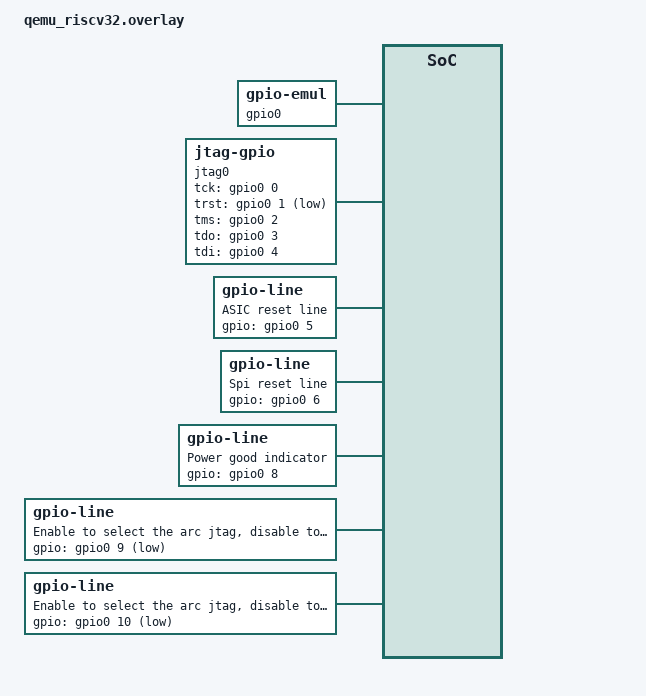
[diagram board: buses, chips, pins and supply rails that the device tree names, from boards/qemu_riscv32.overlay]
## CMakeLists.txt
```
# SPDX-License-Identifier: Apache-2.0

cmake_minimum_required(VERSION 3.20.0)
find_package(Zephyr REQUIRED HINTS $ENV{ZEPHYR_BASE})

include(${CMAKE_CURRENT_LIST_DIR}/../../cmake/git_version.cmake)

project(dmc)

FILE(GLOB app_sources src/*.c)
target_sources(app PRIVATE ${app_sources})
```

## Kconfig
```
# Copyright (c) 2025 Tenstorrent AI ULC
# SPDX-License-Identifier: Apache-2.0

config DMC_RUN_SMBUS_TESTS
	bool "Run SMBUS Tests"
	help
	  Run SMBUS tests on the DMC at boot time. This can be used to verify
	  functionality of the SMBUS interface.

source "Kconfig.zephyr"
```

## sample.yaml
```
sample:
  name: DMFW
common:
  sysbuild: true
  platform_allow:
    - tt_blackhole@p100a/tt_blackhole/dmc
    - tt_blackhole@p150a/tt_blackhole/dmc
    - tt_blackhole@p300a/tt_blackhole/dmc
    - tt_blackhole@orion_slt/tt_blackhole/dmc
  harness: console
  harness_config:
    type: one_line
    regex:
      - "DMFW VERSION (.*)"
tests:
  sample.app:
    extra_configs:
      - CONFIG_DMC_RUN_SMBUS_TESTS=y
    tags: e2e
```

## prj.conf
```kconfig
CONFIG_JTAG=y
CONFIG_TT_BH_CHIP=y
CONFIG_TT_JTAG_BOOTROM=y
CONFIG_JTAG_LOAD_ON_PRESET=y
CONFIG_GPIO=y

CONFIG_COMMON_LIBC_MALLOC=n

# create build/zephyr/zephyr.lst
CONFIG_OUTPUT_DISASSEMBLY=y

CONFIG_MFD=y
CONFIG_PWM=y
CONFIG_SENSOR=y

CONFIG_I2C=y
CONFIG_SMBUS=y
CONFIG_SMBUS_INIT_PRIORITY=60

CONFIG_JTAG_LOAD_BOOTROM=y

# For firmware udpates
CONFIG_TT_BIST=y
CONFIG_TT_BOOT_FS=y
CONFIG_IMG_MANAGER=y
CONFIG_FLASH=y
CONFIG_FLASH_MAP=y
CONFIG_STREAM_FLASH=y
CONFIG_REBOOT=y

# We always expect MCUBoot to be the primary bootloader
CONFIG_BOOTLOADER_MCUBOOT=y
CONFIG_MCUBOOT_SIGNATURE_KEY_FILE="bootloader/mcuboot/root-rsa-2048.pem"

# Disable printing the default Zephyr boot banner
CONFIG_BOOT_BANNER=n
# Print the Tenstorrent boot banner + git version on startup
CONFIG_TT_BOOT_BANNER=y
CONFIG_TT_BOOT_BANNER_SDK_VERSION=y

# k_event APIs
CONFIG_EVENTS=y
CONFIG_TT_EVENT=y

# additional stack space for the main thread
CONFIG_MAIN_STACK_SIZE=4096

# Enable ringbuf logging backend
CONFIG_LOG=y
CONFIG_LOG_BACKEND_RINGBUF=y
# Raise buffer size to hold more log messages
CONFIG_LOG_BACKEND_RINGBUF_BUFFER_SIZE=3072
# Overwrite old messages when the buffer is full
CONFIG_LOG_BACKEND_RINGBUF_MODE_OVERWRITE=y
# Set i2c timeout
CONFIG_I2C_STM32_TRANSFER_TIMEOUT_MSEC=64

# Binary descriptors for firmware version
CONFIG_BINDESC=y
CONFIG_BINDESC_DEFINE=y
CONFIG_BINDESC_DEFINE_VERSION=y
CONFIG_BINDESC_APP_VERSION_STRING=y
CONFIG_BINDESC_APP_BUILD_VERSION=y
```

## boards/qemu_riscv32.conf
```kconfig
CONFIG_PINCTRL=n
CONFIG_JTAG_USE_MMAPPED_IO=n
CONFIG_JTAG_VERIFY_WRITE=y
# CONFIG_JTAG_PROFILE_FUNCTIONS=n

CONFIG_LOG=y
CONFIG_LOG_MODE_MINIMAL=y

CONFIG_MAIN_STACK_SIZE=8192
CONFIG_SYSTEM_WORKQUEUE_STACK_SIZE=8192
```

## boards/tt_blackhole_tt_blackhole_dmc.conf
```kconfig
CONFIG_JTAG_USE_MMAPPED_IO=y

# Enable Clocks
CONFIG_CLOCK_CONTROL=y

# enable pin controller
CONFIG_PINCTRL=y

# enable external spi flash
CONFIG_SPI=y
CONFIG_SPI_STM32_INTERRUPT=y

# enable sensor
CONFIG_SENSOR=y

CONFIG_SHELL=y
CONFIG_SHELL_BACKEND_RTT=y
CONFIG_LOG_BACKEND_RTT=n
CONFIG_GPIO_SHELL=y
CONFIG_SEGGER_RTT_BUFFER_SIZE_DOWN=128
CONFIG_SEGGER_RTT_SECTION_NONE=y

# To debug firmware updates
#CONFIG_LOG=y
#CONFIG_LOG_PRINTK=y
#CONFIG_LOG_MODE_IMMEDIATE=y
#CONFIG_TT_APP_LOG_LEVEL_DBG=y
# Debug logging might consume more stack than usual
#CONFIG_MAIN_STACK_SIZE=10240
#CONFIG_SEGGER_RTT_BUFFER_SIZE_UP=4096
# Never block whey trying to write logs
#CONFIG_LOG_BACKEND_RTT_MODE_OVERWRITE=y
```

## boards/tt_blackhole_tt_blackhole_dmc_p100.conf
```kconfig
# Disable fan ctrl
CONFIG_TT_FAN_CTRL=n
```

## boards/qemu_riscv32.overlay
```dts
/*
 * Copyright (c) 2024 Tenstorrent AI ULC
 *
 * SPDX-License-Identifier: Apache-2.0
 */

#include <zephyr/dt-bindings/gpio/gpio.h>

/ {
	gpio0: gpio-emul {
		status = "okay";
		compatible = "zephyr,gpio-emul";
		rising-edge;
		falling-edge;
		high-level;
		low-level;
		gpio-controller;
		#gpio-cells = <2>;
	};

	jtag0: jtag {
		compatible = "zephyr,jtag-gpio";
		status = "okay";
		tck-gpios = <&gpio0 0 GPIO_ACTIVE_HIGH>;
		trst-gpios = <&gpio0 1 GPIO_ACTIVE_LOW>;
		tms-gpios = <&gpio0 2 GPIO_ACTIVE_HIGH>;
		tdo-gpios = <&gpio0 3 GPIO_PULL_UP>;
		tdi-gpios = <&gpio0 4 GPIO_ACTIVE_HIGH>;
		port-write-cycles = <2>;
	};

	mcureset {
		compatible = "zephyr,gpio-line";
		label = "ASIC reset line";
		gpios = <&gpio0 5 GPIO_PULL_DOWN>;
	};

	spireset {
		compatible = "zephyr,gpio-line";
		label = "Spi reset line";
		gpios = <&gpio0 6 GPIO_PULL_DOWN>;
	};

	pgood {
		compatible = "zephyr,gpio-line";
		label = "Power good indicator";
		gpios = <&gpio0 8 GPIO_PULL_DOWN>;
	};

	arc_rambus_jtag_mux_sel: arc_rambus_jtag_mux_enable {
		label = "Enable to select the arc jtag, disable to select rambus";
		compatible = "zephyr,gpio-line";
		gpios = <&gpio0 9 GPIO_ACTIVE_LOW>;
	};

	arc_l2_jtag_mux_sel: arc_l2_jtag_mux_enable {
		label = "Enable to select the arc jtag, disable to select l2cpu";
		compatible = "zephyr,gpio-line";
		gpios = <&gpio0 10 GPIO_ACTIVE_LOW>;
	};
};
```

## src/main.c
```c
/*
 * Copyright (c) 2024 Tenstorrent AI ULC
 *
 * SPDX-License-Identifier: Apache-2.0
 */

#include <stdbool.h>
#include <stdlib.h>

#include <app_version.h>
#include <tenstorrent/bist.h>
#include <zephyr/devicetree.h>
#include <zephyr/drivers/gpio.h>
#include <zephyr/drivers/i2c.h>
#include <zephyr/drivers/sensor.h>
#include <zephyr/drivers/smbus.h>
#include <zephyr/drivers/jtag.h>
#include <zephyr/drivers/mfd/max6639.h>
#include <zephyr/drivers/pwm.h>
#include <zephyr/drivers/gpio.h>
#include <zephyr/kernel.h>
#include <zephyr/init.h>
#include <zephyr/logging/log.h>
#include <zephyr/storage/flash_map.h>
#include <zephyr/sys/reboot.h>
#include <zephyr/sys/util.h>
#include <zephyr/dfu/mcuboot.h>

#include <tenstorrent/bh_chip.h>
#include <tenstorrent/bh_arc.h>
#include <tenstorrent/event.h>
#include <tenstorrent/jtag_bootrom.h>
#include <tenstorrent/log_backend_ringbuf.h>
#include <tenstorrent/tt_smbus_regs.h>

#define RESET_UNIT_ARC_PC_CORE_0 0x80030C00

#define INITIAL_FAN_SPEED 35
#define LED_BLINK_RATE_MS 400

LOG_MODULE_REGISTER(main, CONFIG_TT_APP_LOG_LEVEL);

BUILD_ASSERT(FIXED_PARTITION_EXISTS(bmfw), "bmfw fixed-partition does not exist");

struct bh_chip BH_CHIPS[BH_CHIP_COUNT] = {DT_FOREACH_PROP_ELEM(DT_PATH(chips), chips, INIT_CHIP)};

#if BH_CHIP_PRIMARY_INDEX >= BH_CHIP_COUNT
#error "Primary chip out of range"
#endif

static const struct gpio_dt_spec board_fault_led =
	GPIO_DT_SPEC_GET_OR(DT_PATH(board_fault_led), gpios, {0});
static const struct device *const ina228 = DEVICE_DT_GET_OR_NULL(DT_NODELABEL(ina228));
static const struct device *const max6639_pwm_dev =
	DEVICE_DT_GET_OR_NULL(DT_NODELABEL(max6639_pwm));
static const struct device *const max6639_sensor_dev =
	DEVICE_DT_GET_OR_NULL(DT_NODELABEL(max6639_sensor));

/* No mechanism for getting bl version... yet */
static dmStaticInfo static_info = {.version = 1, .bl_version = 0, .app_version = APPVERSION};

static uint16_t max_power;

/* FIXME: notify_smcs should be automatic, we should notify if the SMCs are ready, otherwise
 * record a notification to be sent once they are. Also it's properly per-SMC state.
 */
void update_fan_speed(bool notify_smcs)
{
	if (DT_NODE_HAS_STATUS(DT_ALIAS(fan0), okay)) {
		uint8_t fan_speed = 0;
		uint8_t forced_fan_speed = 0;

		ARRAY_FOR_EACH_PTR(BH_CHIPS, chip) {
			fan_speed = MAX(fan_speed, chip->data.fan_speed);
			forced_fan_speed =
				MAX(forced_fan_speed,
				    chip->data.fan_speed_forced ? chip->data.fan_speed : 0);
		}

		if (forced_fan_speed != 0) {
			fan_speed = forced_fan_speed;
		}

		uint32_t fan_speed_pwm = DIV_ROUND_UP(fan_speed * UINT8_MAX, 100);

		pwm_set_cycles(max6639_pwm_dev, 0, UINT8_MAX, fan_speed_pwm, 0);

		if (notify_smcs) {
			/* Broadcast final speed to all SMCs for telemetry */
			ARRAY_FOR_EACH_PTR(BH_CHIPS, chip) {
				bharc_smbus_word_data_write(&chip->config.arc, CMFW_SMBUS_FAN_SPEED,
							    fan_speed);
			}
		}
	}
}

static bool process_reset_req(struct bh_chip *chip, uint8_t msg_id, uint32_t msg_data)
{
	switch (msg_data) {
	case kCm2DmResetLevelAsic:
		LOG_INF("Received ARC reset request");
		bh_chip_cancel_bus_transfer_clear(chip);
		bh_chip_reset_chip(chip, true);
		break;

	case kCm2DmResetLevelDmc:
		/* Trigger reboot; will reset asic and reload dmfw */
		LOG_INF("Received system reset request");
		if (IS_ENABLED(CONFIG_REBOOT)) {
			sys_reboot(SYS_REBOOT_COLD);
		}
		break;
	}

	return true;
}

static bool process_ping(struct bh_chip *chip, uint8_t msg_id, uint32_t msg_data)
{
	/* Respond to ping request from CMFW */
	int32_t ret;
	uint32_t retries = 0;

	do {
		uint16_t data = 0xA5A5;

		if (msg_data == 0) {
			ret = bharc_smbus_word_data_read(&chip->config.arc, CMFW_SMBUS_PING_V2,
							 &data);
		} else {
			ret = bharc_smbus_word_data_write(&chip->config.arc, CMFW_SMBUS_PING, data);
		}
		retries++;
	} while (ret != 0U && retries < 10);

	return false;
}

static bool process_fan_speed_update(struct bh_chip *chip, uint8_t msg_id, uint32_t msg_data)
{
	chip->data.fan_speed = FIELD_GET(GENMASK(7, 0), msg_data);
	chip->data.fan_speed_forced = false;
	update_fan_speed(true);

	return false;
}

static bool process_forced_fan_speed_update(struct bh_chip *chip, uint8_t msg_id, uint32_t msg_data)
{
	chip->data.fan_speed = FIELD_GET(GENMASK(7, 0), msg_data);
	chip->data.fan_speed_forced = true;
	update_fan_speed(true);

	return false;
}

static bool process_id_ready(struct bh_chip *chip, uint8_t msg_id, uint32_t msg_data)
{
	chip->data.arc_needs_init_msg = true;
	return false;
}

static bool process_auto_reset_timeout_update(struct bh_chip *chip, uint8_t msg_id,
					      uint32_t msg_data)
{
	/* Set auto reset timeout */
	chip->data.auto_reset_timeout = msg_data;
	if (chip->data.auto_reset_timeout != 0) {
		/* Start auto-reset timer */
		k_timer_start(&chip->auto_reset_timer, K_MSEC(chip->data.auto_reset_timeout),
			      K_NO_WAIT);
	} else {
		/* Stop auto-reset timer */
		k_timer_stop(&chip->auto_reset_timer);
	}
	return false;
}

static bool process_heartbeat_update(struct bh_chip *chip, uint8_t msg_id, uint32_t msg_data)
{
	/* Update telemetry heartbeat */
	if (chip->data.telemetry_heartbeat != msg_data) {
		/* Telemetry heartbeat is moving */
		chip->data.telemetry_heartbeat = msg_data;
		if (chip->data.auto_reset_timeout != 0) {
			/* Restart auto reset timer */
			k_timer_start(&chip->auto_reset_timer,
				      K_MSEC(chip->data.auto_reset_timeout), K_NO_WAIT);
		}
	}
	return false;
}

static void blink_led_expired(struct k_timer *timer)
{
	ARG_UNUSED(timer);
	gpio_pin_toggle_dt(&board_fault_led);
}
static K_TIMER_DEFINE(blink_led_timer, blink_led_expired, NULL);

static bool process_led_blink_request(struct bh_chip *chip, uint8_t msg_id, uint32_t msg_data)
{
	/* Do not allow LED blinks in manufacturing. */
	if (IS_ENABLED(CONFIG_TT_ASSEMBLY_TEST)) {
		return false;
	}

	if (msg_data) {
		k_timer_start(&blink_led_timer, K_MSEC(LED_BLINK_RATE_MS),
			      K_MSEC(LED_BLINK_RATE_MS));
	} else {
		k_timer_stop(&blink_led_timer);
		gpio_pin_set_dt(&board_fault_led, 0);
	}

	return false;
}

void process_cm2dm_message(struct bh_chip *chip)
{
	typedef bool (*msg_processor_t)(struct bh_chip *chip, uint8_t msg_id, uint32_t msg_data);

	static const msg_processor_t msg_processors[] = {
		[kCm2DmMsgIdResetReq] = process_reset_req,
		[kCm2DmMsgIdPing] = process_ping,
		[kCm2DmMsgIdFanSpeedUpdate] = process_fan_speed_update,
		[kCm2DmMsgIdForcedFanSpeedUpdate] = process_forced_fan_speed_update,
		[kCm2DmMsgIdReady] = process_id_ready,
		[kCm2DmMsgIdAutoResetTimeoutUpdate] = process_auto_reset_timeout_update,
		[kCm2DmMsgTelemHeartbeatUpdate] = process_heartbeat_update,
		[kCm2DmMsgIdLedBlink] = process_led_blink_request,
	};

	for (uint32_t i = 0U; i < kCm2DmMsgCount; i++) {
		cm2dmMessageRet msg = bh_chip_get_cm2dm_message(chip);

		if (msg.ret != 0) {
			/* error already logged by bh_chip_get_cm2dm_message */
			break;
		}

		if (msg.msg.msg_id == kCm2DmMsgIdNull) {
			/* no messages pending, note that seq_num is not valid */
			break;
		}

		if (chip->data.last_cm2dm_seq_num_valid &&
		    chip->data.last_cm2dm_seq_num == msg.msg.seq_num) {
			static uint16_t last_warned_seq_num = UINT16_MAX;

			/* repeat sequence number, indicates ack failure, try again */
			if (msg.msg.seq_num != last_warned_seq_num) {
				LOG_WRN("Received duplicate CM2DM message.");
				last_warned_seq_num = msg.msg.seq_num;
			}
			continue;
		}

		chip->data.last_cm2dm_seq_num_valid = true;
		chip->data.last_cm2dm_seq_num = msg.msg.seq_num;

		if (msg.msg.msg_id < ARRAY_SIZE(msg_processors) && msg_processors[msg.msg.msg_id]) {
			if (msg_processors[msg.msg.msg_id](chip, msg.msg.msg_id, msg.msg.data)) {
				break;
			}
		}
	}
}

void ina228_power_update(void)
{
	struct sensor_value sensor_val;

	sensor_sample_fetch_chan(ina228, SENSOR_CHAN_POWER);
	sensor_channel_get(ina228, SENSOR_CHAN_POWER, &sensor_val);

	/* Only use integer part of sensor value */
	int16_t power = sensor_val.val1 & 0xFFFF;

	ARRAY_FOR_EACH_PTR(BH_CHIPS, chip) {
		bh_chip_set_input_power(chip, power);
	}
}

uint16_t detect_max_power(void)
{
	static const struct gpio_dt_spec psu_sense0 =
		GPIO_DT_SPEC_GET_OR(DT_PATH(psu_sense0), gpios, {0});
	static const struct gpio_dt_spec psu_sense1 =
		GPIO_DT_SPEC_GET_OR(DT_PATH(psu_sense1), gpios, {0});

	gpio_pin_configure_dt(&psu_sense0, GPIO_INPUT);
	gpio_pin_configure_dt(&psu_sense1, GPIO_INPUT);

	int sense0_val = gpio_pin_get_dt(&psu_sense0);
	int sense1_val = gpio_pin_get_dt(&psu_sense1);

	uint16_t psu_power;

	if (!sense0_val && !sense1_val) {
		psu_power = 600;
	} else if (sense0_val && !sense1_val) {
		psu_power = 450;
	} else if (!sense0_val && sense1_val) {
		psu_power = 300;
	} else {
		/* Pins could either be open or shorted together */
		/* Pull down one and check the other */
		gpio_pin_configure_dt(&psu_sense0, GPIO_OUTPUT_LOW);
		if (!gpio_pin_get_dt(&psu_sense1)) {
			/* If shorted together then max power is 150W */
			psu_power = 150;
		} else {
			psu_power = 0;
		}
		gpio_pin_configure_dt(&psu_sense0, GPIO_INPUT);
	}

	return psu_power;
}

/*
 * Runs a series of SMBUS tests when `CONFIG_DMC_RUN_SMBUS_TESTS` is enabled.
 * These tests aren't intended to be run on production firmware.
 */
static int bh_chip_run_smbus_tests(struct bh_chip *chip)
{
#ifdef CONFIG_DMC_RUN_SMBUS_TESTS
	int ret;
	int pass_val = 0xFEEDFACE;
	uint8_t count;
	uint8_t data[255]; /* Max size of SMBUS block read */
	uint32_t app_version;

	/* Test SMBUS telemetry by selecting TAG_DM_APP_FW_VERSION and reading it back */
	ret = bharc_smbus_byte_data_write(&chip->config.arc, 0x26, 26);
	if (ret < 0) {
		LOG_DBG("Failed to write to SMBUS telemetry register");
		return ret;
	}
	ret = bharc_smbus_block_read(&chip->config.arc, 0x27, &count, data);
	if (ret < 0) {
		LOG_DBG("Failed to read from SMBUS telemetry register");
		return ret;
	}
	if (count != 7) {
		LOG_DBG("SMBUS telemetry read returned unexpected count: %d", count);
		return -EIO;
	}
	if (data[0] != 0U) {
		LOG_DBG("SMBUS telemetry read returned invalid telem idx");
		return -EIO;
	}
	(void)memcpy(&app_version, &data[3], sizeof(app_version));

	if (app_version != APPVERSION) {
		LOG_DBG("SMBUS telemetry read returned unexpected value: %08x", *(uint32_t *)data);
		return -EIO;
	}

	/* Test block write block read call*/
	uint32_t test_data = 0x1234FEDC;

	ret = bharc_smbus_block_write_block_read(
		&chip->config.arc, CMFW_SMBUS_TEST_WRITE_BLOCK_READ_BLOCK, sizeof(test_data),
		(uint8_t *)&test_data, &count, data);
	if (ret < 0) {
		LOG_DBG("Failed to Perform block write block read command");
		return ret;
	}
	(void)memcpy(&test_data, data, sizeof(test_data));
	if (test_data != 0x1234FEDC) {
		LOG_DBG("Incorrect read back value: Expected 0x1234FEDC; actual:0x%08X", test_data);
		return -EIO;
	}

	/* Record test status into scratch register */
	ret = bharc_smbus_block_write(&chip->config.arc, 0xDD, sizeof(pass_val),
				      (uint8_t *)&pass_val);
	if (ret < 0) {
		LOG_DBG("Failed to write to SMBUS scratch register");
		return ret;
	}
	printk("SMBUS tests passed\n");
#endif
	return 0;
}

static void handle_therm_trip(void)
{
	ARRAY_FOR_EACH_PTR(BH_CHIPS, chip) {
		if (chip->data.therm_trip_triggered) {
			chip->data.therm_trip_triggered = false;

			if (board_fault_led.port != NULL) {
				gpio_pin_set_dt(&board_fault_led, 1);
			}

			/* hold fan at 100% until we hear otherwise from this chip */
			chip->data.fan_speed = 100;
			chip->data.fan_speed_forced = true;

			if (DT_NODE_HAS_STATUS(DT_ALIAS(fan0), okay)) {
				pwm_set_cycles(max6639_pwm_dev, 0, UINT8_MAX, UINT8_MAX, 0);
			}

			/* Prioritize the system rebooting over the therm trip handler */
			if (!atomic_get(&chip->data.trigger_reset)) {
				/* Technically trigger_reset could have been set here but I
				 * think I'm happy to eat the non-enum in that case
				 */
				chip->data.performing_reset = true;
				/* Set the bus cancel following the logic of
				 * (reset_triggered && !performing_reset)
				 */
				bh_chip_cancel_bus_transfer_clear(chip);

				chip->data.therm_trip_count++;
				bh_chip_reset_chip(chip, true);

				/* Set the bus cancel following the logic of
				 * (reset_triggered && !performing_reset)
				 */
				if (atomic_get(&chip->data.trigger_reset)) {
					bh_chip_cancel_bus_transfer_set(chip);
				}
				chip->data.performing_reset = false;
			}
		}
	}
}

static void handle_watchdog_reset(void)
{
	ARRAY_FOR_EACH_PTR(BH_CHIPS, chip) {
		if (chip->data.arc_wdog_triggered) {
			chip->data.arc_wdog_triggered = false;
			bh_chip_cancel_bus_transfer_clear(chip);
			/* Read PC from ARC and record it */
			jtag_setup(chip->config.jtag);
			jtag_reset(chip->config.jtag);
			jtag_axi_read32(chip->config.jtag, RESET_UNIT_ARC_PC_CORE_0,
					&chip->data.arc_hang_pc);
			jtag_teardown(chip->config.jtag);
			/* Clear watchdog state */
			chip->data.auto_reset_timeout = 0;

			/* hold fan at 100% until we hear otherwise from this chip */
			chip->data.fan_speed = 100;
			chip->data.fan_speed_forced = true;

			if (DT_NODE_HAS_STATUS(DT_ALIAS(fan0), okay)) {
				pwm_set_cycles(max6639_pwm_dev, 0, UINT8_MAX, UINT8_MAX, 0);
			}

			chip->data.performing_reset = true;
			bh_chip_reset_chip(chip, true);
			/* Clear bus transfer cancel flag */
			bh_chip_cancel_bus_transfer_clear(chip);

			chip->data.performing_reset = false;
		}
	}
}

static void handle_perst(void)
{
	ARRAY_FOR_EACH_PTR(BH_CHIPS, chip) {
		if (atomic_set(&chip->data.trigger_reset, false)) {
			chip->data.performing_reset = true;
			chip->data.last_cm2dm_seq_num_valid = false;
			/*
			 * Set the bus cancel following the logic of (reset_triggered &&
			 * !performing_reset)
			 */
			bh_chip_cancel_bus_transfer_clear(chip);

			bharc_disable_i2cbus(&chip->config.arc);
			jtag_bootrom_reset_asic(chip);
			jtag_bootrom_set_cable_power_limit(chip, chip->data.cable_power_limit);
			jtag_bootrom_soft_reset_arc(chip);
			jtag_bootrom_teardown(chip);
			bharc_enable_i2cbus(&chip->config.arc);

			/*
			 * Set the bus cancel following the logic of (reset_triggered &&
			 * !performing_reset)
			 */
			if (atomic_get(&chip->data.trigger_reset)) {
				bh_chip_cancel_bus_transfer_set(chip);
			}
			chip->data.therm_trip_count = 0;
			chip->data.arc_hang_pc = 0;
			chip->data.performing_reset = false;
		}
	}
}

static void handle_pgood_change(void)
{
	ARRAY_FOR_EACH_PTR(BH_CHIPS, chip) {
		handle_pgood_event(chip, board_fault_led);
	}
}

static void send_init_data(void)
{
	ARRAY_FOR_EACH_PTR(BH_CHIPS, chip) {
		if (chip->data.arc_needs_init_msg) {
			if (bh_chip_set_static_info(chip, &static_info) == 0 &&
			    bh_chip_set_input_power_lim(chip, max_power) == 0 &&
			    bh_chip_set_therm_trip_count(chip, chip->data.therm_trip_count) == 0 &&
			    bh_chip_run_smbus_tests(chip) == 0) {
				chip->data.arc_needs_init_msg = false;
			}
		}
	}
}

static void board_power_update(void)
{
	if (IS_ENABLED(CONFIG_INA228)) {
		ina228_power_update();
	}
}

static void fan_rpm_feedback(void)
{
	if (DT_NODE_HAS_STATUS(DT_ALIAS(fan0), okay)) {
		uint16_t rpm;
		struct sensor_value data;

		sensor_sample_fetch_chan(max6639_sensor_dev, MAX6639_CHAN_1_RPM);
		sensor_channel_get(max6639_sensor_dev, MAX6639_CHAN_1_RPM, &data);

		rpm = (uint16_t)data.val1;

		ARRAY_FOR_EACH_PTR(BH_CHIPS, chip) {
			bh_chip_set_fan_rpm(chip, rpm);
		}
	}
}

static void handle_cm2dm_messages(void)
{
	ARRAY_FOR_EACH_PTR(BH_CHIPS, chip) {
		process_cm2dm_message(chip);
	}
}

static void send_logs_to_smc(void)
{
	uint8_t *log_data;
	int ret;

	/* Pull up to 32 bytes from the ringbuf log backend */
	ret = log_backend_ringbuf_get_claim(&log_data, 32);
	if (ret > 0) {
		/* Write log data to the first BH chip */
		if (bh_chip_write_logs(&BH_CHIPS[BH_CHIP_PRIMARY_INDEX], log_data, ret) == 0) {
			/* Only finish the claim if the write was successful */
			log_backend_ringbuf_finish_claim(ret);
		} else {
			/* Otherwise, indicate we consumed 0 bytes */
			log_backend_ringbuf_finish_claim(0);
		}
	}
}

static void shared_20ms_expired(struct k_timer *timer)
{
	ARG_UNUSED(timer);
	tt_event_post(TT_EVENT_FAN_RPM_TO_SMC | TT_EVENT_CM2DM_POLL | TT_EVENT_LOGS_TO_SMC);
}
static K_TIMER_DEFINE(shared_20ms_event_timer, shared_20ms_expired, NULL);

static void board_power_update_expired(struct k_timer *timer)
{
	ARG_UNUSED(timer);
	tt_event_post(TT_EVENT_BOARD_POWER_TO_SMC);
}
static K_TIMER_DEFINE(board_power_update_timer, board_power_update_expired, NULL);

int main(void)
{
	int ret;
	int bist_rc;

	bist_rc = 0;
	if (IS_ENABLED(CONFIG_TT_BIST)) {
		bist_rc = tt_bist();
		if (bist_rc < 0) {
			LOG_ERR("%s() failed: %d", "tt_bist", bist_rc);
		} else {
			LOG_DBG("Built-in self-test succeeded");
		}
	}

	ARRAY_FOR_EACH_PTR(BH_CHIPS, chip) {
		chip->data.fan_speed = INITIAL_FAN_SPEED;
	}

	update_fan_speed(false);

	if (bist_rc == 0 && !boot_is_img_confirmed()) {
		ret = boot_write_img_confirmed();
		if (ret < 0) {
			LOG_DBG("%s() failed: %d", "boot_write_img_confirmed", ret);
			return ret;
		}
		LOG_INF("Firmware update is confirmed.");
	}

	/* Force all spi_muxes back to arc control */
	ARRAY_FOR_EACH_PTR(BH_CHIPS, chip) {
		if (chip->config.spi_mux.port != NULL) {
			gpio_pin_configure_dt(&chip->config.spi_mux, GPIO_OUTPUT_ACTIVE);
		}
	}

	/* Set up GPIOs */
	if (board_fault_led.port != NULL) {
		gpio_pin_configure_dt(&board_fault_led, GPIO_OUTPUT_INACTIVE);
	}

	ARRAY_FOR_EACH_PTR(BH_CHIPS, chip) {
		ret = therm_trip_gpio_setup(chip);
		if (ret != 0) {
			LOG_ERR("%s() failed: %d", "therm_trip_gpio_setup", ret);
			return ret;
		}
		ret = pgood_gpio_setup(chip);
		if (ret != 0) {
			LOG_ERR("%s() failed: %d", "pgood_gpio_setup", ret);
			return ret;
		}
	}

	/* Detect cable power limit early, before JTAG bootrom sequence.
	 * This value will be written to a scratch register for SMC to read at boot.
	 */
	max_power = detect_max_power();

	if (IS_ENABLED(CONFIG_JTAG_LOAD_BOOTROM)) {
		ARRAY_FOR_EACH_PTR(BH_CHIPS, chip) {
			ret = jtag_bootrom_init(chip);
			if (ret != 0) {
				LOG_ERR("%s() failed: %d", "jtag_bootrom_init", ret);
				return ret;
			}

			bharc_disable_i2cbus(&chip->config.arc);

			/* Store power limit for use in runtime resets */
			chip->data.cable_power_limit = max_power;
			ret = jtag_bootrom_reset_sequence(chip, false, max_power);
			/* Always enable I2C bus */
			bharc_enable_i2cbus(&chip->config.arc);
			if (ret != 0) {
				LOG_ERR("%s() failed: %d", "jtag_bootrom_reset", ret);
				return ret;
			}
		}

		LOG_DBG("Bootrom workaround successfully applied");
	}

	ARRAY_FOR_EACH_PTR(BH_CHIPS, chip) {
		const struct device *smbus = chip->config.arc.smbus.bus;

		smbus_configure(smbus, SMBUS_MODE_CONTROLLER | SMBUS_MODE_PEC);
		bh_chip_cancel_bus_transfer_clear(chip);
	}

	printk("DMFW VERSION " APP_VERSION_STRING "\n");

	/* For manufacturing, keep the red LED solid on so it can be visually inspected. */
	if (IS_ENABLED(CONFIG_TT_ASSEMBLY_TEST) && board_fault_led.port != NULL) {
		gpio_pin_set_dt(&board_fault_led, 1);
	}

	k_timer_start(&shared_20ms_event_timer, K_MSEC(20), K_MSEC(20));
	k_timer_start(&board_power_update_timer, K_MSEC(1), K_MSEC(1));

	while (true) {
		uint32_t events = tt_event_wait(TT_EVENT_ANY, K_FOREVER);

		/* These are urgent events, and gated by their own flags. */
		handle_therm_trip();

		handle_watchdog_reset();

		handle_perst();

		handle_pgood_change();

		/* send_init_data only triggers once per chip (per reset). */
		send_init_data();

		if (events & (TT_EVENT_BOARD_POWER_TO_SMC | TT_EVENT_WAKE)) {
			board_power_update();
		}

		if (events & (TT_EVENT_FAN_RPM_TO_SMC | TT_EVENT_WAKE)) {
			fan_rpm_feedback();
		}

		if (events & (TT_EVENT_CM2DM_POLL | TT_EVENT_WAKE)) {
			handle_cm2dm_messages();
		}

		if (events & (TT_EVENT_LOGS_TO_SMC | TT_EVENT_WAKE)) {
			send_logs_to_smc();
		}
	}

	return EXIT_SUCCESS;
}
```
